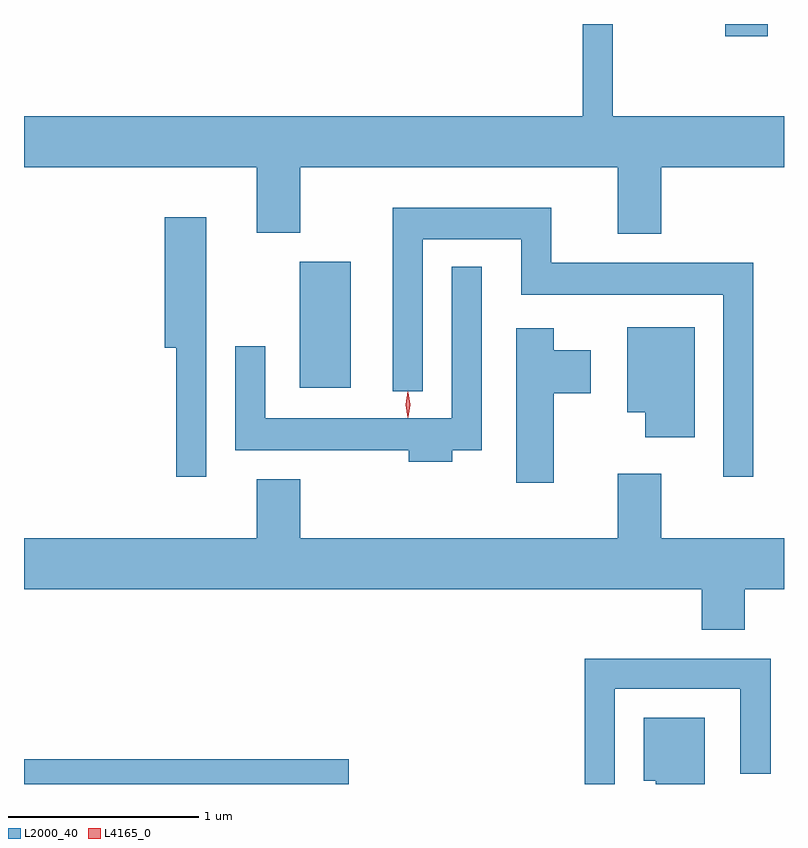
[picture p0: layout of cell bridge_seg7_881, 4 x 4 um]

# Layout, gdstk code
import gdstk
lib = gdstk.Library(unit=1e-6, precision=1e-09)
def R(c, l, rs):  # rectangles x0, y0, x1, y1
    for r in rs: c.add(gdstk.rectangle(r[:2], r[2:], *l))
def P(c, l, *ps):  # polygons
    for p in ps: c.add(gdstk.Polygon(p, *l))
L2000_40 = (2000, 40)
L4165_0 = (4165, 0)

bridge_seg7_881 = lib.new_cell('bridge_seg7_881')
R(bridge_seg7_881, L2000_40, [(422.125,1711.07,423.834,1711.199), (423.576,1713.156,423.844,1713.819), (425.816,1715.006,426.039,1715.07)])
P(bridge_seg7_881, L2000_40, [(425.479,1714.316),(426.125,1714.316),(426.125,1714.584),(425.224,1714.584),(425.224,1715.07),(425.066,1715.07),(425.066,1714.584),(422.125,1714.584),(422.125,1714.316),(423.351,1714.316),(423.351,1713.971),(423.579,1713.971),(423.579,1714.316),(425.251,1714.316),(425.251,1713.966),(425.479,1713.966)],
  [(425.964,1713.814),(424.899,1713.814),(424.899,1714.104),(424.066,1714.104),(424.066,1713.138),(424.224,1713.138),(424.224,1713.936),(424.741,1713.936),(424.741,1713.646),(425.806,1713.646),(425.806,1712.688),(425.964,1712.688)],
  [(423.084,1714.054),(422.866,1714.054),(422.866,1713.366),(422.926,1713.366),(422.926,1712.688),(423.084,1712.688)],
  [(424.379,1712.826),(424.534,1712.826),(424.534,1713.793),(424.376,1713.793),(424.376,1712.994),(423.394,1712.994),(423.394,1713.373),(423.236,1713.373),(423.236,1712.826),(424.151,1712.826),(424.151,1712.766),(424.379,1712.766)],
  [(425.654,1713.474),(425.301,1713.474),(425.301,1713.026),(425.396,1713.026),(425.396,1712.896),(425.654,1712.896)],
  [(424.914,1713.126),(425.109,1713.126),(425.109,1713.354),(424.914,1713.354),(424.914,1713.469),(424.716,1713.469),(424.716,1712.656),(424.914,1712.656)],
  [(425.919,1712.096),(426.125,1712.096),(426.125,1712.364),(425.479,1712.364),(425.479,1712.704),(425.251,1712.704),(425.251,1712.364),(423.579,1712.364),(423.579,1712.674),(423.351,1712.674),(423.351,1712.364),(422.125,1712.364),(422.125,1712.096),(425.691,1712.096),(425.691,1711.881),(425.919,1711.881)],
  [(425.234,1711.571),(425.896,1711.571),(425.896,1711.123),(426.054,1711.123),(426.054,1711.729),(425.076,1711.729),(425.076,1711.07),(425.234,1711.07)],
  [(425.709,1711.419),(425.386,1711.419),(425.386,1711.086),(425.451,1711.086),(425.451,1711.07),(425.709,1711.07)])
P(bridge_seg7_881, L4165_0, [(424.144,1712.997),(424.144,1712.997),(424.134,1713.066),(424.144,1713.136),(424.144,1713.136),(424.145,1713.136),(424.154,1713.066),(424.145,1712.997)],
  [(424.146,1713),(424.137,1713.066),(424.146,1713.132),(424.146,1713.133),(424.147,1713.132),(424.157,1713.066),(424.148,1713),(424.147,1713)])

lib.write_gds('bridge_seg7_881.gds')
